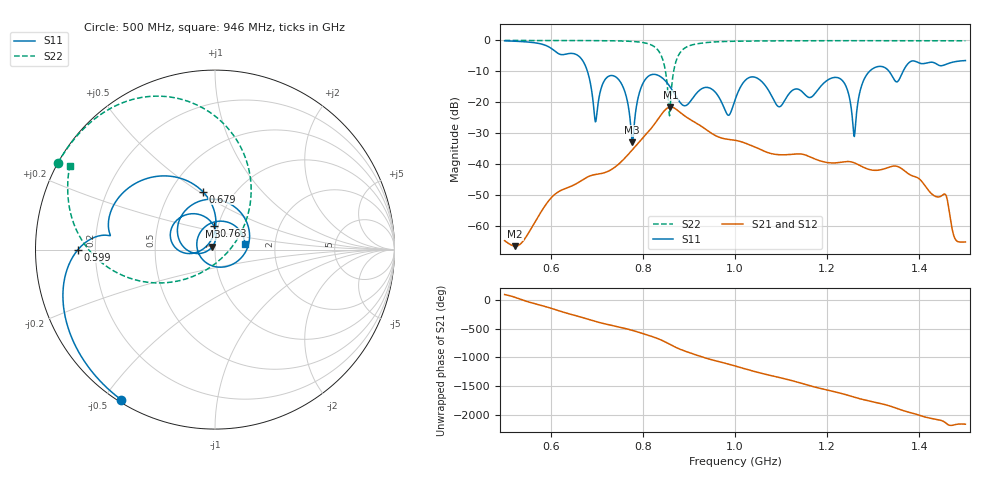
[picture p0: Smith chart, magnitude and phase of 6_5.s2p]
! TOUCHSTONE file generated by CST MICROWAVE STUDIO
! Date and time: Mon Nov 30 08:39:54 2020
! Project name: Scenario_1_Planar_Body_Tissue_Out_of_Line.cst
! Parameters = {dy1=-259.5; L_HA=400; Ltissue=700; MT=2.54; Rad_Dielectric=30; Rad_Lower=7.3; Rad_Upper=30; Wtissue=700; a_HA=580; a_WG=246; b_HA=500; b_WG=121; c_HA=0; c_WG=187; d_feed=85; dx1=866; h_feed=15; h_lower=18; h_upper=40; hfat=3; hgap=25; hmuscle=50; hskin=1.5}
! Header version: 2018
! Port assignment regex: !\s*Touchstone port\s*([0-9]+)\s*=\s*(CST MWS port|CST DS port)\s*([0-9]+|Zmin|Zmax)\s*\(\"(.*)\"\)(\s*mode\s*([0-9]+))?.*
! Touchstone port assignment:
! Touchstone port 1 = CST MWS port 1 ("")
! Touchstone port 2 = CST MWS port 2 ("")
# GHz S DB R 50
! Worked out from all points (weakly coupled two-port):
!   1003 points, 500 MHz to 1.5 GHz, reference 50 ohm
!   highest |S21| = -21.52 dB at 860 MHz (marker M1); lowest = -66.5 dB at 523 MHz (marker M2)
!   lowest |S11| = -32.9 dB at 777 MHz (marker M3), VSWR 1.05, Z = 48.5 + j1.65 ohm
!   |S11| at or under -10 dB: 679.8 MHz to 1.292 GHz (612 MHz wide, 62.1 % of centre); 1.334 GHz to 1.365 GHz (30.34 MHz wide, 2.25 % of centre)
!   |S22| runs from -24.4 to 0.0 dB; largest |S21 - S12| = 4.7e-05
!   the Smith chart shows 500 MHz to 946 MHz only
!   S11 on the Smith chart (normalised r, x): 500 MHz: 0.01, -0.55; 599 MHz: 0.13, +0.00; 679 MHz: 0.72, +0.52; 763 MHz: 0.95, +0.26; 946 MHz: 1.40, +0.09
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0.5  -0.12 -122.1  -64.74 91.1  -64.74 91.1  -0.01 151.2
0.523  -0.26 -132.1  -66.52 41.8  -66.50 41.7  -0.01 149.6
0.599  -2.35 180.0  -51.25 -142.2  -51.25 -142.2  -0.02 144.2
0.667  -6.01 124.9  -45.29 56.8  -45.29 56.8  -0.04 138.4
0.679  -9.64 101.8  -44.22 28.1  -44.22 28.1  -0.05 137.2
0.697  -26.33 134.9  -43.34 -15.4  -43.34 -15.4  -0.06 135.2
0.725  -11.64 161.9  -42.28 -70.2  -42.28 -70.2  -0.10 131.6
0.763  -17.56 93.0  -37.71 -139.9  -37.71 -139.9  -0.23 124.8
0.777  -32.93 131.1  -35.40 -170.1  -35.40 -170.1  -0.32 121.2
0.8  -13.94 166.9  -31.56 134.6  -31.56 134.6  -0.68 112.6
0.834  -11.34 75.4  -25.23 41.8  -25.23 41.8  -3.36 83.9
0.86  -15.20 -2.0  -21.52 -59.1  -21.52 -59.1  -20.14 -103.1
0.882  -20.27 -84.6  -23.40 -141.6  -23.40 -141.6  -3.72 -174.9
0.946  -15.44 10.2  -29.72 47.3  -29.72 47.3  -0.59 150.0
1  -19.27 108.6  -32.28 -67.0  -32.28 -67.0  -0.26 140.2
1.167  -18.18 172.4  -37.93 -60.8  -37.92 -60.8  -0.10 124.2
1.229  -12.45 6.1  -39.39 179.9  -39.39 179.9  -0.08 119.4
1.259  -31.06 27.7  -39.58 110.1  -39.58 110.1  -0.09 117.2
1.285  -11.28 50.6  -41.42 56.5  -41.42 56.4  -0.08 115.2
1.334  -9.92 -14.3  -40.98 -37.1  -40.98 -37.1  -0.09 111.5
1.455  -7.89 -31.7  -49.66 38.6  -49.66 38.3  -0.11 101.9
1.5  -6.51 -44.9  -65.16 2.5  -65.16 2.5  -0.13 97.9
